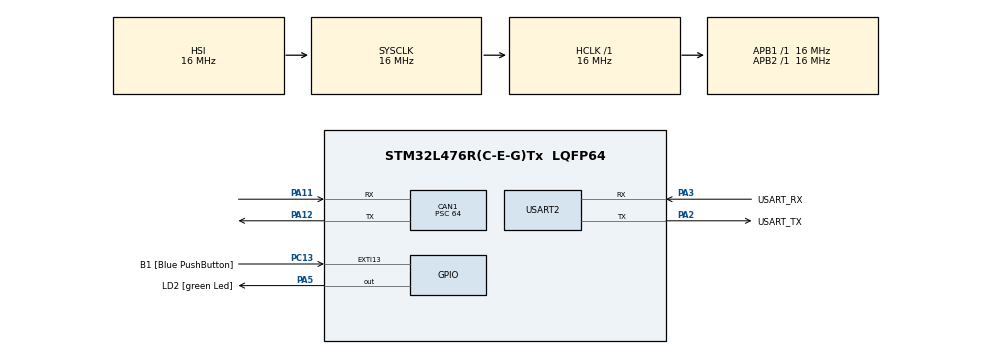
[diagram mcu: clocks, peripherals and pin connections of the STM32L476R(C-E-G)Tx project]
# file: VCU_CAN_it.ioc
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CAN1.CalculateTimeQuantum=4000.0
CAN1.Prescaler=64
Mcu.Family=STM32L4
Mcu.Name=STM32L476R(C-E-G)Tx
Mcu.Package=LQFP64
NVIC.CAN1_RX0_IRQn=true\:0\:0\:false\:false\:true\:true\:true
NVIC.PriorityGroup=NVIC_PRIORITYGROUP_4
PA11.Mode=Master
PA11.Signal=CAN1_RX
PA12.Mode=Master
PA12.Signal=CAN1_TX
PA13\ (JTMS-SWDIO).GPIO_Label=TMS
PA13\ (JTMS-SWDIO).Mode=Serial_Wire
PA13\ (JTMS-SWDIO).Signal=SYS_JTMS-SWDIO
PA14\ (JTCK-SWCLK).GPIO_Label=TCK
PA14\ (JTCK-SWCLK).Mode=Serial_Wire
PA14\ (JTCK-SWCLK).Signal=SYS_JTCK-SWCLK
PA2.GPIO_Label=USART_TX
PA2.GPIO_Mode=GPIO_MODE_AF_PP
PA2.GPIO_PuPd=GPIO_NOPULL
PA2.GPIO_Speed=GPIO_SPEED_FREQ_VERY_HIGH
PA2.Mode=Asynchronous
PA2.Signal=USART2_TX
PA3.GPIO_Label=USART_RX
PA3.GPIO_Mode=GPIO_MODE_AF_PP
PA3.GPIO_PuPd=GPIO_NOPULL
PA3.GPIO_Speed=GPIO_SPEED_FREQ_VERY_HIGH
PA3.Mode=Asynchronous
PA3.Signal=USART2_RX
PA5.GPIO_Label=LD2 [green Led]
PA5.GPIO_ModeDefaultOutputPP=GPIO_MODE_OUTPUT_PP
PA5.GPIO_PuPd=GPIO_NOPULL
PA5.GPIO_Speed=GPIO_SPEED_FREQ_LOW
PA5.Signal=GPIO_Output
PB3\ (JTDO-TRACESWO).GPIO_Label=SWO
PB3\ (JTDO-TRACESWO).Signal=SYS_JTDO-SWO
PC13.GPIO_Label=B1 [Blue PushButton]
PC13.GPIO_ModeDefaultEXTI=GPIO_MODE_IT_FALLING
PC13.GPIO_PuPd=GPIO_NOPULL
PC13.Signal=GPXTI13
PC14-OSC32_IN\ (PC14).Mode=LSE-External-Oscillator
PC14-OSC32_IN\ (PC14).Signal=RCC_OSC32_IN
PC15-OSC32_OUT\ (PC15).Mode=LSE-External-Oscillator
PC15-OSC32_OUT\ (PC15).Signal=RCC_OSC32_OUT
PH0-OSC_IN\ (PH0).Signal=RCC_OSC_IN
PH1-OSC_OUT\ (PH1).Signal=RCC_OSC_OUT
ProjectManager.HeapSize=0x200
ProjectManager.StackSize=0x400
ProjectManager.TargetToolchain=STM32CubeIDE
RCC.ADCFreq_Value=64000000
RCC.AHBFreq_Value=16000000
RCC.APB1Freq_Value=16000000
RCC.APB1TimFreq_Value=16000000
RCC.APB2Freq_Value=16000000
RCC.APB2TimFreq_Value=16000000
RCC.CortexFreq_Value=16000000
RCC.HCLKFreq_Value=16000000
RCC.HSE_VALUE=8000000
RCC.HSI_VALUE=16000000
RCC.MSI_VALUE=4000000
RCC.PLLN=10
RCC.PLLSourceVirtual=RCC_PLLSOURCE_HSI
RCC.PREFETCH_ENABLE=1
RCC.SYSCLKFreq_VALUE=16000000
RCC.SYSCLKSource=RCC_SYSCLKSOURCE_HSI
RCC.USBFreq_Value=64000000
RCC.VCOOutputFreq_Value=160000000
USART2.VirtualMode-Asynchronous=VM_ASYNC
board=NUCLEO-L476RG

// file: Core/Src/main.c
/* USER CODE BEGIN Header */
/**
  ******************************************************************************
  * @file           : main.c
  * @brief          : Main program body
  ******************************************************************************
  * @attention
  *
  * <h2><center>&copy; Copyright (c) 2022 STMicroelectronics.
  * All rights reserved.</center></h2>
  *
  * This software component is licensed by ST under BSD 3-Clause license,
  * the "License"; You may not use this file except in compliance with the
  * License. You may obtain a copy of the License at:
  *                        opensource.org/licenses/BSD-3-Clause
  *
  ******************************************************************************
  */
/* USER CODE END Header */
#include "main.h"

CAN_HandleTypeDef hcan1;

UART_HandleTypeDef huart2;

/* USER CODE BEGIN PV */
CAN_RxHeaderTypeDef hcan_rx;
uint8_t datacheck_1=0;
uint8_t datacheck_2=0;

/* USER CODE END PV */

void SystemClock_Config(void);
static void MX_GPIO_Init(void);
static void MX_USART2_UART_Init(void);
static void MX_CAN1_Init(void);
/* USER CODE BEGIN PFP */
void CAN_Rx_filter(void);
void CAN_TX1(void);
void CAN_TX2(void);
/* USER CODE END PFP */

int main(void)
{

  /* MCU Configuration--------------------------------------------------------*/

  /* Reset of all peripherals, Initializes the Flash interface and the Systick. */
  HAL_Init();

  /* Configure the system clock */
  SystemClock_Config();

  /* Initialize all configured peripherals */
  MX_GPIO_Init();
  MX_USART2_UART_Init();
  MX_CAN1_Init();
  /* USER CODE BEGIN 2 */
  CAN_Rx_filter();
  if(HAL_CAN_Start(&hcan1)!=HAL_OK)
  {
	  Error_Handler();
  }

  if(HAL_CAN_ActivateNotification(&hcan1,CAN_IT_RX_FIFO0_MSG_PENDING)!=HAL_OK)
 {
	 Error_Handler();
 }

  /* USER CODE END 2 */

  /* Infinite loop */
  /* USER CODE BEGIN WHILE */
  while (1)
  {
	 HAL_GPIO_WritePin(LD2_GPIO_Port,LD2_Pin,GPIO_PIN_SET);
	 HAL_Delay(400);
	 HAL_GPIO_WritePin(LD2_GPIO_Port,LD2_Pin,GPIO_PIN_RESET);
	 HAL_Delay(400);

	 CAN_TX1();
	 HAL_Delay(50);
	 CAN_TX2();
	 HAL_Delay(50);
    /* USER CODE END WHILE */

  }
}

void SystemClock_Config(void)
{
  RCC_OscInitTypeDef RCC_OscInitStruct = {0};
  RCC_ClkInitTypeDef RCC_ClkInitStruct = {0};
  RCC_PeriphCLKInitTypeDef PeriphClkInit = {0};

  /** Initializes the RCC Oscillators according to the specified parameters
  * in the RCC_OscInitTypeDef structure.
  */
  RCC_OscInitStruct.OscillatorType = RCC_OSCILLATORTYPE_HSI;
  RCC_OscInitStruct.HSIState = RCC_HSI_ON;
  RCC_OscInitStruct.HSICalibrationValue = RCC_HSICALIBRATION_DEFAULT;
  RCC_OscInitStruct.PLL.PLLState = RCC_PLL_NONE;
  if (HAL_RCC_OscConfig(&RCC_OscInitStruct) != HAL_OK)
  {
    Error_Handler();
  }
  /** Initializes the CPU, AHB and APB buses clocks
  */
  RCC_ClkInitStruct.ClockType = RCC_CLOCKTYPE_HCLK|RCC_CLOCKTYPE_SYSCLK
                              |RCC_CLOCKTYPE_PCLK1|RCC_CLOCKTYPE_PCLK2;
  RCC_ClkInitStruct.SYSCLKSource = RCC_SYSCLKSOURCE_HSI;
  RCC_ClkInitStruct.AHBCLKDivider = RCC_SYSCLK_DIV1;
  RCC_ClkInitStruct.APB1CLKDivider = RCC_HCLK_DIV1;
  RCC_ClkInitStruct.APB2CLKDivider = RCC_HCLK_DIV1;

  if (HAL_RCC_ClockConfig(&RCC_ClkInitStruct, FLASH_LATENCY_0) != HAL_OK)
  {
    Error_Handler();
  }
  PeriphClkInit.PeriphClockSelection = RCC_PERIPHCLK_USART2;
  PeriphClkInit.Usart2ClockSelection = RCC_USART2CLKSOURCE_PCLK1;
  if (HAL_RCCEx_PeriphCLKConfig(&PeriphClkInit) != HAL_OK)
  {
    Error_Handler();
  }
  /** Configure the main internal regulator output voltage
  */
  if (HAL_PWREx_ControlVoltageScaling(PWR_REGULATOR_VOLTAGE_SCALE1) != HAL_OK)
  {
    Error_Handler();
  }
}

static void MX_CAN1_Init(void)
{

  hcan1.Instance = CAN1;
  hcan1.Init.Prescaler = 64;
  hcan1.Init.Mode = CAN_MODE_NORMAL;
  hcan1.Init.SyncJumpWidth = CAN_SJW_1TQ;
  hcan1.Init.TimeSeg1 = CAN_BS1_1TQ;
  hcan1.Init.TimeSeg2 = CAN_BS2_1TQ;
  hcan1.Init.TimeTriggeredMode = DISABLE;
  hcan1.Init.AutoBusOff = DISABLE;
  hcan1.Init.AutoWakeUp = DISABLE;
  hcan1.Init.AutoRetransmission = DISABLE;
  hcan1.Init.ReceiveFifoLocked = DISABLE;
  hcan1.Init.TransmitFifoPriority = DISABLE;
  if (HAL_CAN_Init(&hcan1) != HAL_OK)
  {
    Error_Handler();
  }

}

static void MX_USART2_UART_Init(void)
{

  huart2.Instance = USART2;
  huart2.Init.BaudRate = 115200;
  huart2.Init.WordLength = UART_WORDLENGTH_8B;
  huart2.Init.StopBits = UART_STOPBITS_1;
  huart2.Init.Parity = UART_PARITY_NONE;
  huart2.Init.Mode = UART_MODE_TX_RX;
  huart2.Init.HwFlowCtl = UART_HWCONTROL_NONE;
  huart2.Init.OverSampling = UART_OVERSAMPLING_16;
  huart2.Init.OneBitSampling = UART_ONE_BIT_SAMPLE_DISABLE;
  huart2.AdvancedInit.AdvFeatureInit = UART_ADVFEATURE_NO_INIT;
  if (HAL_UART_Init(&huart2) != HAL_OK)
  {
    Error_Handler();
  }

}

static void MX_GPIO_Init(void)
{
  GPIO_InitTypeDef GPIO_InitStruct = {0};

  /* GPIO Ports Clock Enable */
  __HAL_RCC_GPIOC_CLK_ENABLE();
  __HAL_RCC_GPIOH_CLK_ENABLE();
  __HAL_RCC_GPIOA_CLK_ENABLE();
  __HAL_RCC_GPIOB_CLK_ENABLE();

  /*Configure GPIO pin Output Level */
  HAL_GPIO_WritePin(LD2_GPIO_Port, LD2_Pin, GPIO_PIN_RESET);

  /*Configure GPIO pin : B1_Pin */
  GPIO_InitStruct.Pin = B1_Pin;
  GPIO_InitStruct.Mode = GPIO_MODE_IT_FALLING;
  GPIO_InitStruct.Pull = GPIO_NOPULL;
  HAL_GPIO_Init(B1_GPIO_Port, &GPIO_InitStruct);

  /*Configure GPIO pin : LD2_Pin */
  GPIO_InitStruct.Pin = LD2_Pin;
  GPIO_InitStruct.Mode = GPIO_MODE_OUTPUT_PP;
  GPIO_InitStruct.Pull = GPIO_NOPULL;
  GPIO_InitStruct.Speed = GPIO_SPEED_FREQ_LOW;
  HAL_GPIO_Init(LD2_GPIO_Port, &GPIO_InitStruct);

}

/* USER CODE BEGIN 4 */

void CAN_Rx_filter(void)
{
	CAN_FilterTypeDef hcan_filter;
	hcan_filter.FilterActivation  =CAN_FILTER_ENABLE;
	hcan_filter.FilterBank         =0;
	hcan_filter.FilterFIFOAssignment =CAN_RX_FIFO0;
	hcan_filter.FilterIdHigh       =0x0000;
	hcan_filter.FilterIdLow		   =0x0000;
	hcan_filter.FilterMaskIdHigh   =0x0000;
	hcan_filter.FilterMaskIdLow	   =0x0000;
	hcan_filter.FilterMode         =CAN_FILTERMODE_IDMASK;
	hcan_filter.FilterScale		   =CAN_FILTERSCALE_32BIT;

	if((HAL_CAN_ConfigFilter(&hcan1, &hcan_filter)!=HAL_OK))
	{
		Error_Handler();
	}

}

void HAL_CAN_RxFifo0MsgPendingCallback(CAN_HandleTypeDef *hcan)
{
	uint8_t rcvd_msg[8];

	if(HAL_CAN_GetRxMessage(&hcan1,CAN_RX_FIFO0,&hcan_rx,(uint8_t*)rcvd_msg)!=HAL_OK)
	{
		Error_Handler();
	}
	if(hcan_rx.ExtId==0x10261022)
	{
		datacheck_1=1;
		HAL_GPIO_WritePin(LD2_GPIO_Port,LD2_Pin,GPIO_PIN_SET);
		HAL_Delay(500);
		HAL_GPIO_WritePin(LD2_GPIO_Port,LD2_Pin,GPIO_PIN_RESET);
		HAL_Delay(500);
	}
	else if(hcan_rx.ExtId==0x10261023)
	{
		datacheck_2=1;
		HAL_GPIO_WritePin(LD2_GPIO_Port,LD2_Pin,GPIO_PIN_SET);
		HAL_Delay(200);
		HAL_GPIO_WritePin(LD2_GPIO_Port,LD2_Pin,GPIO_PIN_RESET);
		HAL_Delay(200);

	}
	else
	{
		datacheck_1=0;
		datacheck_2=0;
		HAL_GPIO_WritePin(LD2_GPIO_Port,LD2_Pin,GPIO_PIN_RESET);
	}

}

void CAN_TX1(void)
{
	CAN_TxHeaderTypeDef hcan_tx1;

	uint32_t mailbox1;
	uint8_t msg1[8]={'0','0','0','0','0','0','0','0'};

	hcan_tx1.DLC	=8;
	hcan_tx1.ExtId	=0x1026105A;
	hcan_tx1.IDE	=CAN_ID_EXT;
	hcan_tx1.RTR	=CAN_RTR_DATA;
	if(HAL_CAN_AddTxMessage(&hcan1,&hcan_tx1,(uint8_t*)msg1,&mailbox1)!=HAL_OK)
	{
		Error_Handler();
	}

	char can_sent[11]="Data_Sent-1";
	while(HAL_CAN_IsTxMessagePending(&hcan1,mailbox1));

	HAL_UART_Transmit(&huart2,(uint8_t*)can_sent,11,HAL_MAX_DELAY);

}
void CAN_TX2(void)
{
	CAN_TxHeaderTypeDef hcan_tx2;

	uint32_t mailbox2;
	uint8_t msg2[8]={'0','0','0','0','0','0','0','0'};

	hcan_tx2.DLC	=8;
	hcan_tx2.ExtId	=0x10261101;
	hcan_tx2.IDE	=CAN_ID_EXT;
	hcan_tx2.RTR	=CAN_RTR_DATA;
	if(HAL_CAN_AddTxMessage(&hcan1,&hcan_tx2,(uint8_t*)msg2,&mailbox2)!=HAL_OK)
	{
		Error_Handler();
	}

	char can_sent[11]="Data_Sent-2";

	while(HAL_CAN_IsTxMessagePending(&hcan1,mailbox2));

	HAL_UART_Transmit(&huart2,(uint8_t*)can_sent,11,HAL_MAX_DELAY);

}
/* USER CODE END 4 */

void Error_Handler(void)
{
}

/************************ (C) COPYRIGHT STMicroelectronics *****END OF FILE****/
